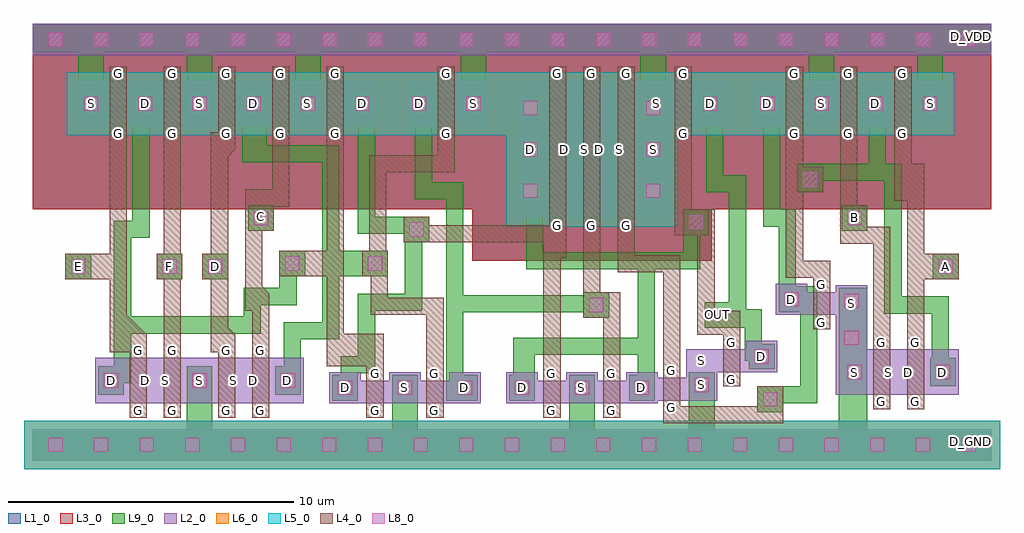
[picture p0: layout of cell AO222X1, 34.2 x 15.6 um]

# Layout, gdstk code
import gdstk
lib = gdstk.Library(unit=1e-6, precision=1e-09)
def R(c, l, rs):  # rectangles x0, y0, x1, y1
    for r in rs: c.add(gdstk.rectangle(r[:2], r[2:], *l))
def A(c, l, x, y, w, h, nx, ny, dx, dy):  # array of equal rectangles
    R(c, l, [(x+i*dx, y+j*dy, x+i*dx+w, y+j*dy+h) for i in range(nx) for j in range(ny)])
def P(c, l, *ps):  # polygons
    for p in ps: c.add(gdstk.Polygon(p, *l))
L1_0 = (1, 0)
L2_0 = (2, 0)
L3_0 = (3, 0)
L4_0 = (4, 0)
L5_0 = (5, 0)
L6_0 = (6, 0)
L8_0 = (8, 0)
L9_0 = (9, 0)

ao222x1 = lib.new_cell('AO222X1')
A(ao222x1, L1_0, 15.4, 7, 6, 7.8, 3, 1, 1.2, 0)
A(ao222x1, L1_0, 0, 8.8, 1.6, 6.5, 21, 1, 1.6, 0)
A(ao222x1, L1_0, 0, 10.2, 6, 4.6, 5, 1, 1.9, 0)
A(ao222x1, L1_0, 23.7, 10.2, 6, 4.6, 3, 1, 1.9, 0)
R(ao222x1, L1_0, [(11.5,10.2,17.5,14.8), (19.8,10.2,25.8,14.8)])
A(ao222x1, L2_0, 0, 0, 1.6, 1.1, 21, 2, 1.6, 14.2)
A(ao222x1, L2_0, 18, 8.5, 0.8, 4.8, 3, 1, 1.2, 0)
A(ao222x1, L2_0, 2.6, 11.7, 0.8, 1.6, 5, 1, 1.9, 0)
A(ao222x1, L2_0, 26.3, 11.7, 0.8, 1.6, 3, 1, 1.9, 0)
R(ao222x1, L2_0, [(2.2,2,3.3,3.6), (3.3,2,4.1,3.6), (3.4,2,4.5,3.6), (4.1,2,5.2,3.6), (4.5,2,5.3,3.6), (5.3,2,6.4,3.6), (5.3,2,6.4,3.6), (6.4,2,7.2,3.6), (6.5,2,7.6,3.6), (7.2,2,8.3,3.6), (7.6,2,8.4,3.6), (8.4,2,9.5,3.6), (10.4,2,11.5,3.1), (11.5,2,12.5,2.8), (12.5,2,13.6,3.1), (12.5,2,13.6,3.1), (13.6,2,14.6,2.8), (14.6,2,15.7,3.1), (16.6,2,17.7,3.1), (17.7,2,18.7,2.8), (18.7,2,19.8,3.1), (18.7,2,19.8,3.1), (19.8,2,20.8,2.8), (20.8,2,21.9,3.1), (20.8,2.1,21.9,2.9), (21.9,2.1,22.9,2.9), (22.9,2.1,24,3.2), (22.9,2.1,24,3.9), (28.15,2.3,29.25,5.05), (28.25,2.3,29.35,3.9), (29.35,2.3,30.15,3.9), (29.45,2.3,30.55,3.9), (30.15,2.3,31.25,3.9), (30.55,2.3,31.35,3.9), (31.35,2.3,32.45,3.9), (22.9,3.1,24,3.9), (24,3.1,25,3.9), (25,3.1,26.1,4.2), (28.15,3.75,29.25,4.85), (28.15,5.05,29.25,6.15), (26.05,5.1,27.15,6.2), (27.15,5.1,28.15,5.9), (28.15,5.1,29.25,5.9), (16.9,8.5,18,13.3), (18.1,8.5,19.2,13.3), (18.8,8.5,19.9,13.3), (19.3,8.5,20.4,13.3), (20,8.5,21.1,13.3), (21.2,8.5,22.3,13.3), (1.5,11.7,2.6,13.3), (3.4,11.7,4.5,13.3), (3.4,11.7,4.5,13.3), (5.3,11.7,6.4,13.3), (5.3,11.7,6.4,13.3), (7.2,11.7,8.3,13.3), (7.2,11.7,8.3,13.3), (9.1,11.7,10.2,13.3), (9.1,11.7,10.2,13.3), (11,11.7,12.1,13.3), (13,11.7,14.1,13.3), (14.1,11.7,14.9,13.3), (14.9,11.7,16,13.3), (21.3,11.7,22.4,13.3), (22.4,11.7,23.2,13.3), (23.2,11.7,24.3,13.3), (25.2,11.7,26.3,13.3), (27.1,11.7,28.2,13.3), (27.1,11.7,28.2,13.3), (29,11.7,30.1,13.3), (29,11.7,30.1,13.3), (30.9,11.7,32,13.3)])
A(ao222x1, L3_0, 15.4, 7, 6, 7.8, 3, 1, 1.2, 0)
A(ao222x1, L3_0, 0, 8.8, 1.6, 6.5, 21, 1, 1.6, 0)
A(ao222x1, L3_0, 0, 10.2, 6, 4.6, 5, 1, 1.9, 0)
A(ao222x1, L3_0, 23.7, 10.2, 6, 4.6, 3, 1, 1.9, 0)
R(ao222x1, L3_0, [(11.5,10.2,17.5,14.8), (19.8,10.2,25.8,14.8)])
A(ao222x1, L4_0, 18.1, 8, 0.6, 0.5, 3, 2, 1.2, 5.3)
A(ao222x1, L4_0, 18.1, 8, 0.6, 5.8, 3, 1, 1.2, 0)
A(ao222x1, L4_0, 2.7, 11.2, 0.6, 0.5, 5, 2, 1.9, 2.1)
A(ao222x1, L4_0, 2.7, 11.2, 0.6, 2.6, 5, 1, 1.9, 0)
A(ao222x1, L4_0, 26.4, 11.2, 0.6, 0.5, 3, 2, 1.9, 2.1)
A(ao222x1, L4_0, 26.4, 11.2, 0.6, 2.6, 3, 1, 1.9, 0)
R(ao222x1, L4_0, [(22.1,1.3,26.3,1.9), (3.4,1.5,4,2), (3.4,1.5,4,4.1), (4.6,1.5,5.2,2), (4.6,1.5,5.2,4.1), (6.5,1.5,7.1,2), (6.5,1.5,7.1,4.1), (7.7,1.5,8.3,2), (7.7,1.5,8.3,4.1), (11.7,1.5,12.3,3.3), (11.7,1.5,12.3,2), (13.8,1.5,14.4,3.3), (13.8,1.5,14.4,2), (17.9,1.5,18.5,3.3), (17.9,1.5,18.5,2), (20,1.5,20.6,3.3), (20,1.5,20.6,2), (22.1,1.6,22.7,3.4), (22.1,1.6,22.7,2.1), (25.4,1.7,26.3,2.6), (29.45,1.8,30.05,2.3), (29.45,1.8,30.05,4.4), (30.65,1.8,31.25,2.3), (30.65,1.8,31.25,4.4), (24.2,2.6,24.8,4.4), (24.2,2.6,24.8,3.1), (11.7,2.8,12.3,3.3), (13.8,2.8,14.4,3.3), (17.9,2.8,18.5,3.3), (20,2.8,20.6,3.3), (22.1,2.9,22.7,3.4), (3.4,3.6,4,4.1), (4.6,3.6,5.2,4.1), (6.5,3.6,7.1,4.1), (7.7,3.6,8.3,4.1), (24.2,3.9,24.8,4.4), (29.45,3.9,30.05,4.4), (30.65,3.9,31.25,4.4), (4.6,4.1,5.2,6.35), (27.35,4.6,27.95,6.4), (27.35,4.6,27.95,5.1), (19.3,5,20.2,5.9), (19.3,5.9,19.9,8), (27.35,5.9,27.95,6.4), (1.15,6.35,2.05,7.25), (2.05,6.35,3,7.25), (4.35,6.35,5.25,7.25), (5.95,6.35,6.85,7.25), (31.25,6.35,31.55,7.25), (31.55,6.35,32.45,7.25), (8.65,6.45,9.55,7.35), (9.55,6.45,10.35,7.35), (11.55,6.45,12.45,7.35), (20.5,7.1,21.1,8.05), (4.6,7.25,5.2,11.2), (28.3,7.6,28.9,10.3), (13,7.65,13.9,8.55), (13.9,7.65,18.7,8.25), (22.8,7.9,23.7,8.8), (7.55,8.05,8.45,8.95), (28.35,8.05,29.25,8.95), (23.7,8.5,23.9,8.8), (26.8,9.4,27.7,10.3), (22.5,9.8,23.1,11.2), (26.4,10.1,27,11.2), (28.3,10.3,28.9,11.25), (30.2,10.35,30.8,11.3), (14.2,11.2,14.8,11.7), (14.2,11.2,14.8,13.8), (22.5,11.2,23.1,11.7), (22.5,11.2,23.1,13.8), (14.2,13.3,14.8,13.8), (22.5,13.3,23.1,13.8)])
P(ao222x1, L4_0, [(11.85,5.1),(13.8,5.1),(13.8,3.3),(14.4,3.3),(14.4,5.7),(12.45,5.7),(12.45,6.85),(11.85,6.85)],
  [(19.9,5.3),(20,5.3),(20,3.3),(20.6,3.3),(20.6,5.9),(19.9,5.9)],
  [(11.8,6.85),(12.4,6.85),(12.4,10.1),(14.8,10.1),(14.8,11.2),(14.2,11.2),(14.2,10.7),(11.8,10.7)],
  [(7.45,5.25),(7.7,5.25),(7.7,4.1),(8.3,4.1),(8.3,5.85),(8.05,5.85),(8.05,8.9),(9,8.9),(9,11.2),(8.4,11.2),(8.4,9.5),(7.45,9.5)],
  [(17.9,3.3),(18.5,3.3),(18.5,7.1),(18.7,7.1),(18.7,7.7),(17.9,7.7)],
  [(2.7,3.8),(4,3.8),(4,4.4),(3.3,4.4),(3.3,11.2),(2.7,11.2)],
  [(8.3,5.85),(8.05,6.1),(8.05,5.85)],
  [(26.4,6.4),(27.95,6.4),(27.95,7),(27,7),(27,10.1),(26.4,10.1)],
  [(22.5,7.9),(23.9,7.9),(23.9,8.5),(23.1,8.5),(23.1,10.1),(22.5,10.1)],
  [(6.85,10.9),(6.85,10.65),(7.1,10.9)],
  [(30.2,9.1),(30.65,9.1),(30.65,4.4),(31.25,4.4),(31.25,10.4),(30.2,10.4)],
  [(20.5,6.6),(22.1,6.6),(22.1,3.3),(22.7,3.3),(22.7,7.2),(20.5,7.2)],
  [(7.1,4.4),(6.85,4.65),(6.85,4.4)],
  [(10.3,3.3),(12.3,3.3),(12.3,4.45),(10.9,4.45),(10.9,11.2),(10.3,11.2)],
  [(28.3,7.6),(29.45,7.6),(29.45,4.3),(30.05,4.3),(30.05,8.2),(28.3,8.2)],
  [(23.3,4.4),(24.8,4.4),(24.8,5.25),(23.9,5.25),(23.9,7.9),(23.3,7.9)],
  [(6.25,3.8),(7.1,3.8),(7.1,4.4),(6.85,4.4),(6.85,6.35),(6.25,6.35)],
  [(6.25,7.25),(6.85,7.25),(6.85,10.9),(7.1,10.9),(7.1,11.5),(6.25,11.5)],
  [(4,4.4),(3.3,5.1),(3.3,4.4)])
A(ao222x1, L5_0, 1.6, -0.3, 1.6, 1.7, 19, 1, 1.6, 0)
A(ao222x1, L5_0, 16.6, 8.2, 3.6, 5.4, 3, 1, 1.2, 0)
A(ao222x1, L5_0, 1.2, 11.4, 3.6, 2.2, 5, 1, 1.9, 0)
A(ao222x1, L5_0, 24.9, 11.4, 3.6, 2.2, 3, 1, 1.9, 0)
R(ao222x1, L5_0, [(-0.3,-0.3,1.6,1.4), (32,-0.3,33.9,1.4), (12.4,11.4,12.7,13.6), (12.7,11.4,16.3,13.6), (16.3,11.4,16.6,13.6), (21,11.4,24.6,13.6), (24.6,11.4,24.9,13.6)])
A(ao222x1, L6_0, 1.6, -0.3, 1.6, 1.7, 19, 1, 1.6, 0)
A(ao222x1, L6_0, 16.6, 8.2, 3.6, 5.4, 3, 1, 1.2, 0)
A(ao222x1, L6_0, 1.2, 11.4, 3.6, 2.2, 5, 1, 1.9, 0)
A(ao222x1, L6_0, 24.9, 11.4, 3.6, 2.2, 3, 1, 1.9, 0)
R(ao222x1, L6_0, [(-0.3,-0.3,1.6,1.4), (32,-0.3,33.9,1.4), (12.4,11.4,12.7,13.6), (12.7,11.4,16.3,13.6), (16.3,11.4,16.6,13.6), (21,11.4,24.6,13.6), (24.6,11.4,24.9,13.6)])
A(ao222x1, L8_0, 0.55, 0.3, 0.5, 0.5, 21, 2, 1.6, 14.2)
A(ao222x1, L8_0, 17.2, 9.2, 0.5, 0.5, 1, 3, 0, 1.45)
A(ao222x1, L8_0, 21.5, 9.2, 0.5, 0.5, 1, 3, 0, 1.45)
R(ao222x1, L8_0, [(25.6,1.9,26.1,2.4), (10.7,2.3,11.2,2.8), (12.8,2.3,13.3,2.8), (12.8,2.3,13.3,2.8), (14.9,2.3,15.4,2.8), (16.9,2.3,17.4,2.8), (19,2.3,19.5,2.8), (19,2.3,19.5,2.8), (21.1,2.3,21.6,2.8), (23.2,2.4,23.7,2.9), (2.5,2.55,3,3.05), (5.6,2.55,6.1,3.05), (5.6,2.55,6.1,3.05), (8.7,2.55,9.2,3.05), (28.55,2.85,29.05,3.35), (31.65,2.85,32.15,3.35), (25.3,3.4,25.8,3.9), (28.45,4.05,28.95,4.55), (19.5,5.2,20,5.7), (28.45,5.35,28.95,5.85), (26.35,5.4,26.85,5.9), (1.35,6.55,1.85,7.05), (4.55,6.55,5.05,7.05), (6.15,6.55,6.65,7.05), (31.75,6.55,32.25,7.05), (8.85,6.65,9.35,7.15), (11.75,6.65,12.25,7.15), (13.2,7.85,13.7,8.35), (23,8.1,23.5,8.6), (7.75,8.25,8.25,8.75), (28.55,8.25,29.05,8.75), (27,9.6,27.5,10.1), (1.8,12.25,2.3,12.75), (3.7,12.25,4.2,12.75), (3.7,12.25,4.2,12.75), (5.6,12.25,6.1,12.75), (5.6,12.25,6.1,12.75), (7.5,12.25,8,12.75), (7.5,12.25,8,12.75), (9.4,12.25,9.9,12.75), (9.4,12.25,9.9,12.75), (11.3,12.25,11.8,12.75), (13.3,12.25,13.8,12.75), (15.2,12.25,15.7,12.75), (23.5,12.25,24,12.75), (25.5,12.25,26,12.75), (27.4,12.25,27.9,12.75), (27.4,12.25,27.9,12.75), (29.3,12.25,29.8,12.75), (29.3,12.25,29.8,12.75), (31.2,12.25,31.7,12.75)])
A(ao222x1, L9_0, 0, 0, 1.6, 1, 21, 2, 1.6, 14.3)
A(ao222x1, L9_0, 1.6, 12.1, 0.9, 3.1, 3, 1, 3.8, 0)
R(ao222x1, L9_0, [(5.4,0.1,6.3,3.2), (12.6,0.1,13.5,3), (18.8,0.1,19.7,3), (23,0.1,23.9,3.1), (28.25,0.1,29.15,3.5), (32.3,0.1,33.2,1), (28.25,1,29.25,3.6), (25.4,1.7,26.3,2.6), (10.5,2.1,11.4,3), (12.6,2.1,13.5,3), (12.6,2.1,13.5,3), (14.5,2.1,14.7,2.4), (14.7,2.1,15.6,3), (16.7,2.1,17.6,3), (18.8,2.1,19.7,3), (18.8,2.1,19.7,3), (20.9,2.1,21.8,3), (23,2.2,23.9,3.1), (2.3,2.3,3.2,3.3), (5.4,2.3,6.3,3.3), (5.4,2.3,6.3,3.3), (8.5,2.3,9.4,3.3), (21.2,2.4,21.8,7.3), (28.35,2.6,29.25,3.6), (31.45,2.6,32.35,3.6), (17.45,3,17.6,3.7), (25.1,3.2,26,4.1), (28.25,3.6,29.25,6.05), (28.25,3.85,29.15,4.75), (23.55,4.65,24.45,5.55), (24.45,4.65,24.95,4.7), (19.3,5,20.2,5.9), (28.25,5.15,29.15,6.05), (14.5,5.2,19.9,5.8), (26.15,5.2,27.05,6.1), (27.05,5.8,27.5,6.1), (1.15,6.35,2.05,7.25), (1.15,6.35,2.05,7.25), (4.35,6.35,5.25,7.25), (4.35,6.35,5.25,7.25), (5.95,6.35,6.85,7.25), (5.95,6.35,6.85,7.25), (31.55,6.35,32.45,7.25), (31.55,6.35,32.45,7.25), (8.65,6.45,9.55,7.35), (10.75,6.45,11.55,7.35), (11.55,6.45,12.45,7.35), (13,7.65,13.9,8.55), (22.8,7.9,23.7,8.8), (7.55,8.05,8.45,8.95), (7.55,8.05,8.45,8.95), (28.35,8.05,29.25,8.95), (28.35,8.05,29.25,8.95), (17,9,17.9,12.8), (21.3,9,22.2,12.8), (26.8,9.4,27.7,10.3), (29.3,9.8,29.9,12.6), (26.8,10.3,27.1,10.4), (21.3,11.9,22.2,15.2), (1.6,12,2.5,13), (3.5,12,4.4,13), (3.5,12,4.4,13), (5.4,12,6.3,13), (5.4,12,6.3,13), (7.3,12,8.2,13), (7.3,12,8.2,13), (9.2,12,10.1,13), (9.2,12,10.1,13), (11.1,12,12,13), (13.1,12,14,13), (15,12,15.9,13), (23.3,12,24.2,13), (25.3,12,26.2,13), (27.2,12,28.1,13), (27.2,12,28.1,13), (29.1,12,30,13), (29.1,12,30,13), (31,12,31.9,13), (15,12.1,15.9,15.2), (27.2,12.1,28.1,15.2), (31,12.1,31.9,15.2), (32.45,14.4,33.35,15.3)])
P(ao222x1, L9_0, [(10.8,2.4),(11.4,2.4),(11.4,3.05),(12,3.05),(12,5.25),(13.65,5.25),(13.65,8.25),(13.05,8.25),(13.05,5.85),(11.4,5.85),(11.4,3.65),(10.8,3.65)],
  [(25.6,8.2),(26.15,8.2),(26.15,5.5),(26.75,5.5),(26.75,8.8),(26.2,8.8),(26.2,12.6),(25.6,12.6)],
  [(25.7,2),(27.5,2),(27.5,5.8),(26.45,5.8),(26.45,5.2),(26.9,5.2),(26.9,2.6),(25.7,2.6)],
  [(7.35,10.45),(10.15,10.45),(10.15,4.85),(8.8,4.85),(8.8,3.3),(9.4,3.3),(9.4,4.25),(10.75,4.25),(10.75,11.05),(8.2,11.05),(8.2,12),(7.35,12)],
  [(17.3,6.7),(21.8,6.7),(21.8,7.3),(17.9,7.3),(17.9,9.6),(17.3,9.6)],
  [(11.4,7.95),(13.6,7.95),(13.6,8.55),(12,8.55),(12,12.6),(11.4,12.6)],
  [(13.4,9.15),(14.5,9.15),(14.5,2.4),(15.3,2.4),(15.3,3),(15.1,3),(15.1,9.75),(14,9.75),(14,12.6),(13.4,12.6)],
  [(21.2,6.7),(23.4,6.7),(23.4,8.5),(22.8,8.5),(22.8,7.3),(21.2,7.3)],
  [(2.6,2.7),(3.45,2.7),(3.45,7.8),(4.1,7.8),(4.1,12.6),(3.5,12.6),(3.5,8.4),(2.85,8.4),(2.85,3.3),(2.6,3.3)],
  [(27.1,9.7),(27.7,9.7),(27.7,9.8),(29.85,9.8),(29.85,5.15),(31.5,5.15),(31.5,3),(32.1,3),(32.1,5.75),(30.45,5.75),(30.45,10.4),(27.1,10.4)],
  [(2.85,4.45),(8,4.45),(8,5.45),(9.25,5.45),(9.25,7.05),(8.65,7.05),(8.65,6.05),(7.4,6.05),(7.4,5.05),(2.85,5.05)],
  [(16.85,2.4),(17.45,2.4),(17.45,3.7),(21.8,3.7),(21.8,4.3),(16.85,4.3)],
  [(23.6,9.4),(24.4,9.4),(24.4,4.7),(24.95,4.7),(24.95,3.5),(25.7,3.5),(25.7,4.1),(25.55,4.1),(25.55,5.3),(25,5.3),(25,10),(24.2,10),(24.2,12.6),(23.6,12.6)])
ao222x1.add(gdstk.Label('G', (20.3,1.752), layer=4, texttype=0))
ao222x1.add(gdstk.Label('G', (20.3,3.052), layer=4, texttype=0))
ao222x1.add(gdstk.Label('S', (19.249,2.551), layer=9, texttype=0))
ao222x1.add(gdstk.Label('D', (21.349,2.551), layer=9, texttype=0))
ao222x1.add(gdstk.Label('G', (22.8,11.452), layer=4, texttype=0))
ao222x1.add(gdstk.Label('G', (22.8,13.552), layer=4, texttype=0))
ao222x1.add(gdstk.Label('S', (21.849,12.501), layer=2, texttype=0))
ao222x1.add(gdstk.Label('D', (23.749,12.501), layer=9, texttype=0))
ao222x1.add(gdstk.Label('G', (3,11.452), layer=4, texttype=0))
ao222x1.add(gdstk.Label('G', (3,13.552), layer=4, texttype=0))
ao222x1.add(gdstk.Label('S', (2.049,12.501), layer=9, texttype=0))
ao222x1.add(gdstk.Label('D', (3.949,12.501), layer=9, texttype=0))
ao222x1.add(gdstk.Label('G', (14.1,1.752), layer=4, texttype=0))
ao222x1.add(gdstk.Label('G', (14.1,3.052), layer=4, texttype=0))
ao222x1.add(gdstk.Label('S', (13.049,2.551), layer=9, texttype=0))
ao222x1.add(gdstk.Label('D', (15.149,2.551), layer=9, texttype=0))
ao222x1.add(gdstk.Label('G', (27.65,4.852), layer=4, texttype=0))
ao222x1.add(gdstk.Label('G', (27.65,6.152), layer=4, texttype=0))
ao222x1.add(gdstk.Label('S', (28.701,5.501), layer=2, texttype=0))
ao222x1.add(gdstk.Label('D', (26.601,5.651), layer=9, texttype=0))
ao222x1.add(gdstk.Label('G', (26.7,11.452), layer=4, texttype=0))
ao222x1.add(gdstk.Label('G', (26.7,13.552), layer=4, texttype=0))
ao222x1.add(gdstk.Label('S', (27.651,12.501), layer=9, texttype=0))
ao222x1.add(gdstk.Label('D', (25.751,12.501), layer=9, texttype=0))
ao222x1.add(gdstk.Label('D', (30.699,3.101), layer=2, texttype=0))
ao222x1.add(gdstk.Label('G', (29.75,2.052), layer=4, texttype=0))
ao222x1.add(gdstk.Label('G', (29.75,4.152), layer=4, texttype=0))
ao222x1.add(gdstk.Label('S', (28.799,3.101), layer=9, texttype=0))
ao222x1.add(gdstk.Label('G', (10.6,11.452), layer=4, texttype=0))
ao222x1.add(gdstk.Label('G', (10.6,13.552), layer=4, texttype=0))
ao222x1.add(gdstk.Label('S', (9.649,12.501), layer=9, texttype=0))
ao222x1.add(gdstk.Label('D', (11.549,12.501), layer=9, texttype=0))
ao222x1.add(gdstk.Label('G', (14.5,11.452), layer=4, texttype=0))
ao222x1.add(gdstk.Label('G', (14.5,13.552), layer=4, texttype=0))
ao222x1.add(gdstk.Label('S', (15.451,12.501), layer=9, texttype=0))
ao222x1.add(gdstk.Label('D', (13.551,12.501), layer=9, texttype=0))
ao222x1.add(gdstk.Label('D', (3.951,2.801), layer=2, texttype=0))
ao222x1.add(gdstk.Label('G', (4.9,1.752), layer=4, texttype=0))
ao222x1.add(gdstk.Label('G', (4.9,3.852), layer=4, texttype=0))
ao222x1.add(gdstk.Label('S', (5.851,2.801), layer=9, texttype=0))
ao222x1.add(gdstk.Label('G', (12,1.752), layer=4, texttype=0))
ao222x1.add(gdstk.Label('G', (12,3.052), layer=4, texttype=0))
ao222x1.add(gdstk.Label('S', (13.051,2.551), layer=9, texttype=0))
ao222x1.add(gdstk.Label('D', (10.951,2.551), layer=9, texttype=0))
ao222x1.add(gdstk.Label('G', (19.6,8.252), layer=4, texttype=0))
ao222x1.add(gdstk.Label('G', (19.6,13.552), layer=4, texttype=0))
ao222x1.add(gdstk.Label('S', (20.551,10.901), layer=2, texttype=0))
ao222x1.add(gdstk.Label('D', (18.651,10.901), layer=2, texttype=0))
ao222x1.add(gdstk.Label('G', (18.4,8.252), layer=4, texttype=0))
ao222x1.add(gdstk.Label('G', (18.4,13.552), layer=4, texttype=0))
ao222x1.add(gdstk.Label('S', (19.351,10.901), layer=2, texttype=0))
ao222x1.add(gdstk.Label('D', (17.451,10.901), layer=9, texttype=0))
ao222x1.add(gdstk.Label('D', (7.749,2.801), layer=2, texttype=0))
ao222x1.add(gdstk.Label('G', (6.8,1.752), layer=4, texttype=0))
ao222x1.add(gdstk.Label('G', (6.8,3.852), layer=4, texttype=0))
ao222x1.add(gdstk.Label('S', (5.849,2.801), layer=9, texttype=0))
ao222x1.add(gdstk.Label('G', (4.9,11.452), layer=4, texttype=0))
ao222x1.add(gdstk.Label('G', (4.9,13.552), layer=4, texttype=0))
ao222x1.add(gdstk.Label('S', (5.851,12.501), layer=9, texttype=0))
ao222x1.add(gdstk.Label('D', (3.951,12.501), layer=9, texttype=0))
ao222x1.add(gdstk.Label('G', (18.2,1.752), layer=4, texttype=0))
ao222x1.add(gdstk.Label('G', (18.2,3.052), layer=4, texttype=0))
ao222x1.add(gdstk.Label('S', (19.251,2.551), layer=9, texttype=0))
ao222x1.add(gdstk.Label('D', (17.151,2.551), layer=9, texttype=0))
ao222x1.add(gdstk.Label('D', (21.351,2.501), layer=2, texttype=0))
ao222x1.add(gdstk.Label('G', (22.4,1.852), layer=4, texttype=0))
ao222x1.add(gdstk.Label('G', (22.4,3.152), layer=4, texttype=0))
ao222x1.add(gdstk.Label('S', (23.451,2.651), layer=9, texttype=0))
ao222x1.add(gdstk.Label('G', (6.8,11.452), layer=4, texttype=0))
ao222x1.add(gdstk.Label('G', (6.8,13.552), layer=4, texttype=0))
ao222x1.add(gdstk.Label('S', (5.849,12.501), layer=9, texttype=0))
ao222x1.add(gdstk.Label('D', (7.749,12.501), layer=9, texttype=0))
ao222x1.add(gdstk.Label('G', (8,1.752), layer=4, texttype=0))
ao222x1.add(gdstk.Label('G', (8,3.852), layer=4, texttype=0))
ao222x1.add(gdstk.Label('S', (7.049,2.801), layer=2, texttype=0))
ao222x1.add(gdstk.Label('D', (8.949,2.801), layer=9, texttype=0))
ao222x1.add(gdstk.Label('G', (30.95,2.052), layer=4, texttype=0))
ao222x1.add(gdstk.Label('G', (30.95,4.152), layer=4, texttype=0))
ao222x1.add(gdstk.Label('S', (29.999,3.101), layer=2, texttype=0))
ao222x1.add(gdstk.Label('D', (31.899,3.101), layer=9, texttype=0))
ao222x1.add(gdstk.Label('G', (28.6,13.548), layer=4, texttype=0))
ao222x1.add(gdstk.Label('G', (28.6,11.448), layer=4, texttype=0))
ao222x1.add(gdstk.Label('S', (27.649,12.499), layer=9, texttype=0))
ao222x1.add(gdstk.Label('D', (29.549,12.499), layer=9, texttype=0))
ao222x1.add(gdstk.Label('G', (20.8,8.252), layer=4, texttype=0))
ao222x1.add(gdstk.Label('G', (20.8,13.552), layer=4, texttype=0))
ao222x1.add(gdstk.Label('S', (21.751,10.901), layer=9, texttype=0))
ao222x1.add(gdstk.Label('D', (19.851,10.901), layer=2, texttype=0))
ao222x1.add(gdstk.Label('G', (24.5,2.852), layer=4, texttype=0))
ao222x1.add(gdstk.Label('G', (24.5,4.152), layer=4, texttype=0))
ao222x1.add(gdstk.Label('S', (23.449,3.501), layer=2, texttype=0))
ao222x1.add(gdstk.Label('D', (25.549,3.651), layer=9, texttype=0))
ao222x1.add(gdstk.Label('G', (3.7,1.752), layer=4, texttype=0))
ao222x1.add(gdstk.Label('G', (3.7,3.852), layer=4, texttype=0))
ao222x1.add(gdstk.Label('S', (4.651,2.801), layer=2, texttype=0))
ao222x1.add(gdstk.Label('D', (2.751,2.801), layer=9, texttype=0))
ao222x1.add(gdstk.Label('G', (30.5,11.452), layer=4, texttype=0))
ao222x1.add(gdstk.Label('G', (30.5,13.552), layer=4, texttype=0))
ao222x1.add(gdstk.Label('S', (31.451,12.501), layer=9, texttype=0))
ao222x1.add(gdstk.Label('D', (29.551,12.501), layer=9, texttype=0))
ao222x1.add(gdstk.Label('G', (8.7,11.452), layer=4, texttype=0))
ao222x1.add(gdstk.Label('G', (8.7,13.552), layer=4, texttype=0))
ao222x1.add(gdstk.Label('S', (9.651,12.501), layer=9, texttype=0))
ao222x1.add(gdstk.Label('D', (7.751,12.501), layer=9, texttype=0))
ao222x1.add(gdstk.Label('D_VDD', (32.9,14.85), layer=50, texttype=0))
ao222x1.add(gdstk.Label('D_GND', (32.85,0.65), layer=50, texttype=0))
ao222x1.add(gdstk.Label('A', (32,6.8), layer=50, texttype=0))
ao222x1.add(gdstk.Label('B', (28.8,8.5), layer=50, texttype=0))
ao222x1.add(gdstk.Label('F', (4.8,6.8), layer=50, texttype=0))
ao222x1.add(gdstk.Label('D', (6.4,6.8), layer=50, texttype=0))
ao222x1.add(gdstk.Label('E', (1.6,6.8), layer=50, texttype=0))
ao222x1.add(gdstk.Label('C', (8,8.55), layer=50, texttype=0))
ao222x1.add(gdstk.Label('OUT', (24,5.1), layer=50, texttype=0))

lib.write_gds('AO222X1.gds')
